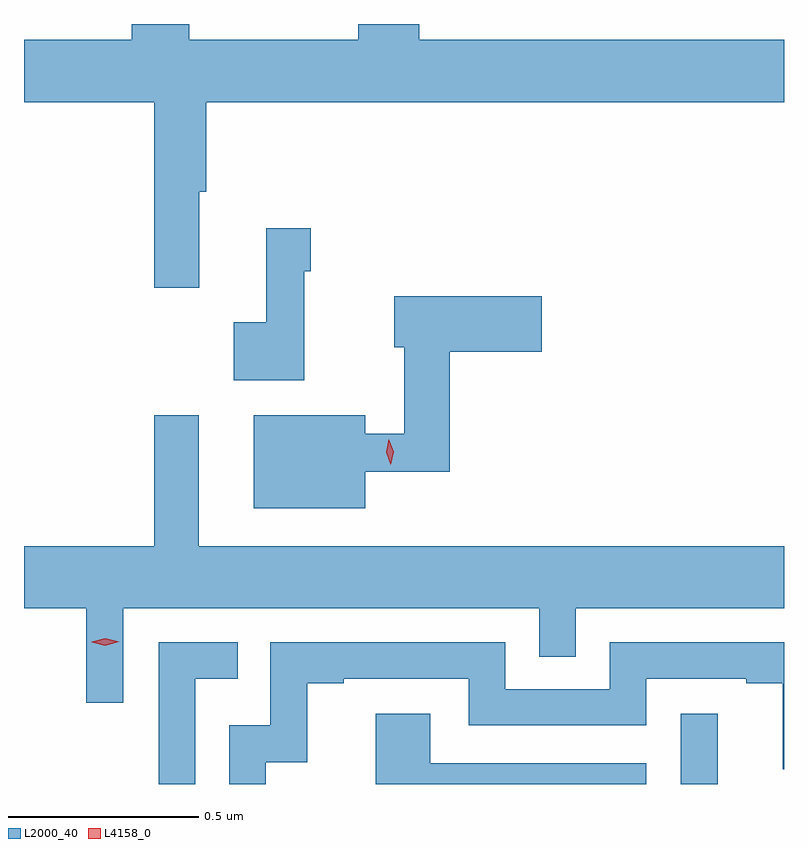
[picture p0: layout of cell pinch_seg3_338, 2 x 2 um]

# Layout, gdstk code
import gdstk
lib = gdstk.Library(unit=1e-6, precision=1e-09)
def R(c, l, rs):  # rectangles x0, y0, x1, y1
    for r in rs: c.add(gdstk.rectangle(r[:2], r[2:], *l))
def P(c, l, *ps):  # polygons
    for p in ps: c.add(gdstk.Polygon(p, *l))
L2000_40 = (2000, 40)
L4158_0 = (4158, 0)

pinch_seg3_338 = lib.new_cell('pinch_seg3_338')
R(pinch_seg3_338, L2000_40, [(973.29,723.098,973.387,723.283)])
P(pinch_seg3_338, L2000_40, [(972.023,724.656),(972.041,724.656),(972.041,724.892),(973.562,724.892),(973.562,725.056),(972.602,725.056),(972.602,725.098),(972.442,725.098),(972.442,725.056),(971.997,725.056),(971.997,725.098),(971.846,725.098),(971.846,725.056),(971.562,725.056),(971.562,724.892),(971.905,724.892),(971.905,724.404),(972.023,724.404)],
  [(972.3,724.448),(972.317,724.448),(972.317,724.561),(972.2,724.561),(972.2,724.313),(972.114,724.313),(972.114,724.16),(972.3,724.16)],
  [(972.46,723.92),(972.683,723.92),(972.683,724.235),(972.925,724.235),(972.925,724.382),(972.536,724.382),(972.536,724.247),(972.562,724.247),(972.562,724.02),(972.46,724.02),(972.46,724.069),(972.167,724.069),(972.167,723.824),(972.46,723.824)],
  [(971.823,723.56),(972.918,723.56),(972.918,723.433),(973.014,723.433),(973.014,723.56),(973.562,723.56),(973.562,723.724),(972.022,723.724),(972.022,724.069),(971.905,724.069),(971.905,723.724),(971.562,723.724),(971.562,723.56),(971.726,723.56),(971.726,723.312),(971.823,723.312)],
  [(972.198,723.155),(972.308,723.155),(972.308,723.363),(972.403,723.363),(972.403,723.375),(972.732,723.375),(972.732,723.252),(973.2,723.252),(973.2,723.375),(973.463,723.375),(973.463,723.363),(973.559,723.363),(973.559,723.137),(973.562,723.137),(973.562,723.471),(973.104,723.471),(973.104,723.348),(972.828,723.348),(972.828,723.471),(972.21,723.471),(972.21,723.252),(972.102,723.252),(972.102,723.098),(972.198,723.098)],
  [(972.012,723.375),(972.125,723.375),(972.125,723.471),(971.916,723.471),(971.916,723.098),(972.012,723.098)],
  [(973.2,723.153),(972.631,723.153),(972.631,723.283),(972.487,723.283),(972.487,723.098),(973.2,723.098)])
P(pinch_seg3_338, L4158_0, [(972.527,723.938),(972.527,723.938),(972.515,723.971),(972.522,724.005),(972.522,724.005),(972.522,724.005),(972.535,723.972),(972.527,723.938)],
  [(971.776,723.462),(971.74,723.471),(971.74,723.472),(971.74,723.472),(971.776,723.482),(971.812,723.473),(971.812,723.473),(971.812,723.473)])

lib.write_gds('pinch_seg3_338.gds')
